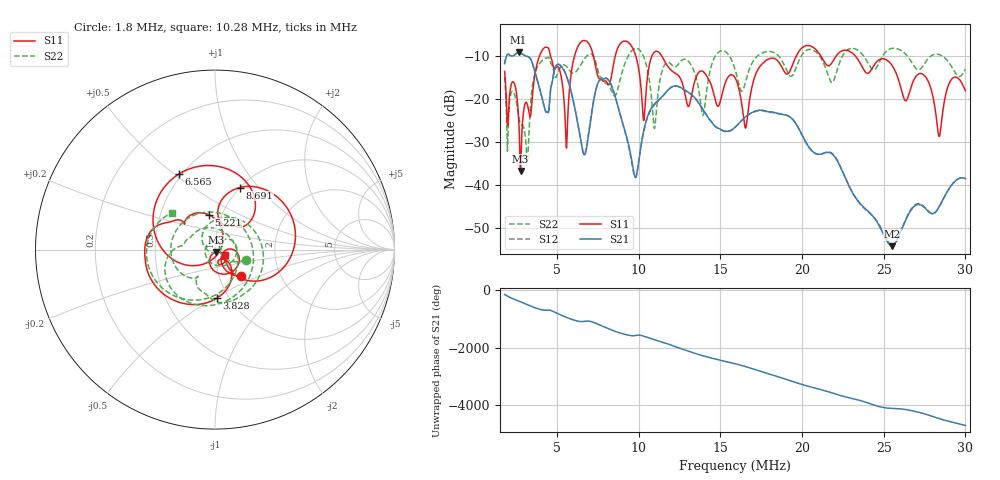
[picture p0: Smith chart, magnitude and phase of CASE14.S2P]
!Agilent Technologies,E5061B,MY49101568,A.02.00
!Date: Wed Mar 01 13:25:58 2023
!Data & Calibration Information:
!Freq	S11:SOLT2(OFF)	S21:SOLT2(OFF)	S12:SOLT2(OFF)	S22:SOLT2(OFF)
# Hz S dB R 50
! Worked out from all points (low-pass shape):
!   1155 points, 1.8 MHz to 30 MHz, reference 50 ohm
!   highest |S21| = -9.27 dB at 2.655 MHz (marker M1); lowest = -54.1 dB at 25.53 MHz (marker M2)
!   |S21| within 3 dB of the highest: start of sweep to 3.536 MHz; 4.96 MHz to 5.194 MHz (234.1 kHz wide, 4.61 % of centre)
!   lowest |S11| = -36.7 dB at 2.777 MHz (marker M3), VSWR 1.03, Z = 50.6 - j1.33 ohm
!   |S11| at or under -10 dB: start of sweep to 3.947 MHz; 11.4 MHz to 19.66 MHz (8.266 MHz wide, 53.2 % of centre); 23.24 MHz to end of sweep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
!   |S22| runs from -34.6 to -8.3 dB; largest |S21 - S12| = 0.0052
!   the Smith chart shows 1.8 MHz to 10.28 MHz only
!   S11 on the Smith chart (normalised r, x): 1.8 MHz: 1.27, -0.39; 3.828 MHz: 0.88, -0.52; 5.221 MHz: 0.87, +0.35; 6.565 MHz: 0.48, +0.52; 8.691 MHz: 1.00, +0.80; 10.28 MHz: 1.11, -0.07
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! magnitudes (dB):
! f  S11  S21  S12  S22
! 1.8 MHz  -13.7  -11.9  -11.9  -14.9
! 2.655 MHz  -24.4  -9.3  -9.3  -24.0
! 2.777 MHz  -36.7  -9.4  -9.4  -25.8
! 3.193 MHz  -21.4  -10.2  -10.2  -34.6
! 3.828 MHz  -11.3  -16.1  -16.1  -12.5
! 5.221 MHz  -14.1  -12.4  -12.3  -12.7
! 5.588 MHz  -31.4  -14.8  -14.7  -12.5
! 6.516 MHz  -6.7  -30.8  -30.9  -11.8
! 6.565 MHz  -6.6  -31.8  -31.9  -11.5
! 7.592 MHz  -15.3  -15.8  -15.8  -14.5
! 8.691 MHz  -8.6  -21.2  -21.1  -18.3
! 9.766 MHz  -9.4  -37.9  -38.2  -8.4
! 10.28 MHz  -24.3  -28.0  -28.3  -10.0
! 11.21 MHz  -9.2  -20.4  -20.5  -18.1
! 13.04 MHz  -21.8  -18.5  -18.6  -11.3
! 15.9 MHz  -15.1  -26.6  -26.7  -13.2
! 16.54 MHz  -26.8  -24.2  -24.2  -16.2
! 20.62 MHz  -8.0  -32.1  -32.1  -8.7
! 25.31 MHz  -11.4  -53.6  -53.2  -8.6
! 25.53 MHz  -12.4  -54.1  -53.9  -8.3
! 28.39 MHz  -28.7  -45.1  -45.1  -9.8
! 30 MHz  -18.1  -38.5  -38.5  -13.2
